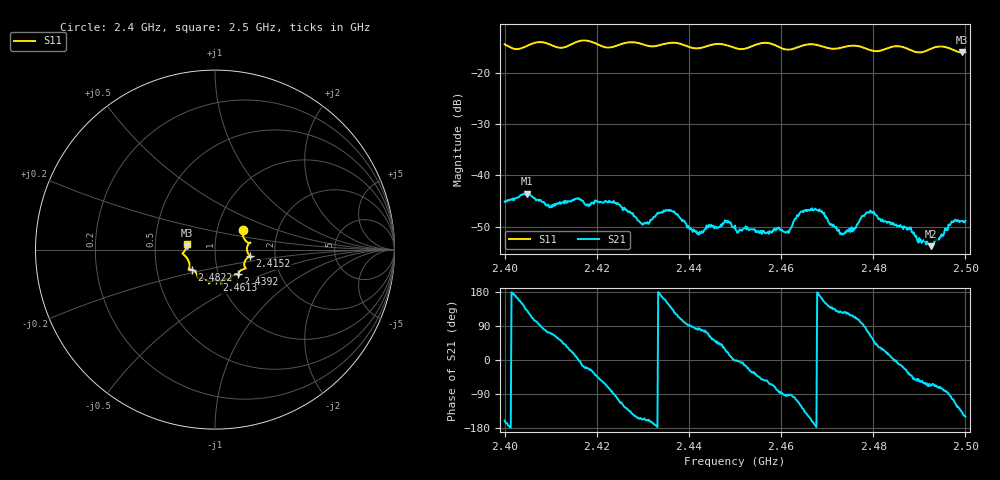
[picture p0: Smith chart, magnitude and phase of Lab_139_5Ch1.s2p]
# Hz S RI R 50
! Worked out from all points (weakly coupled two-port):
!   601 points, 2.4 GHz to 2.5 GHz, reference 50 ohm
!   highest |S21| = -43.55 dB at 2.4048 GHz (marker M1); lowest = -53.8 dB at 2.4925 GHz (marker M2)
!   lowest |S11| = -15.9 dB at 2.4993 GHz (marker M3), VSWR 1.38, Z = 36.3 + j1.6 ohm
!   |S11| at or under -10 dB: start of sweep to end of sweep
!   S12 and S22 are empty: the file has one direction only
!   S11 on the Smith chart (normalised r, x): 2.4 GHz: 1.33, +0.31; 2.4152 GHz: 1.48, -0.11; 2.4392 GHz: 1.23, -0.35; 2.4613 GHz: 0.96, -0.34; 2.4822 GHz: 0.76, -0.17; 2.5 GHz: 0.73, +0.05
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2.4e9  0.156 0.1116  -0.00521 -0.00189  0 0  0 0
2.404833e9  0.1811 0.0404  -0.00436 0.00501  0 0  0 0
2.410167e9  0.1864 0.0306  0.00186 0.00475  0 0  0 0
2.415167e9  0.1953 -0.0369  0.00571 0.00149  0 0  0 0
2.416667e9  0.2044 -0.0428  0.00565 -0.00108  0 0  0 0
2.424167e9  0.1632 -0.0874  -0.00056 -0.00531  0 0  0 0
2.43e9  0.1586 -0.1087  -0.00304 -0.00129  0 0  0 0
2.433333e9  0.132 -0.1326  -0.00424 5.68e-05  0 0  0 0
2.439167e9  0.1269 -0.1379  -0.000436 0.00341  0 0  0 0
2.442e9  0.0985 -0.1454  0.000502 0.00269  0 0  0 0
2.448167e9  0.083 -0.1691  0.00333 0.0013  0 0  0 0
2.45e9  0.0682 -0.1635  0.00323 -6.54e-05  0 0  0 0
2.461333e9  0.0073 -0.1705  -4.82e-05 -0.00278  0 0  0 0
2.464e9  -0.027 -0.1809  -0.00187 -0.00385  0 0  0 0
2.466667e9  -0.0332 -0.1897  -0.00451 -0.00158  0 0  0 0
2.473167e9  -0.0788 -0.1605  -0.00159 0.0022  0 0  0 0
2.479e9  -0.1006 -0.1379  0.00145 0.00408  0 0  0 0
2.482167e9  -0.1279 -0.1117  0.00314 0.00161  0 0  0 0
2.483333e9  -0.1393 -0.1103  0.00337 0.00087  0 0  0 0
2.4925e9  -0.1709 -0.031  0.000784 -0.00188  0 0  0 0
2.499333e9  -0.1585 0.0215  -0.00265 -0.00241  0 0  0 0
2.5e9  -0.1578 0.0336  -0.0031 -0.00185  0 0  0 0
